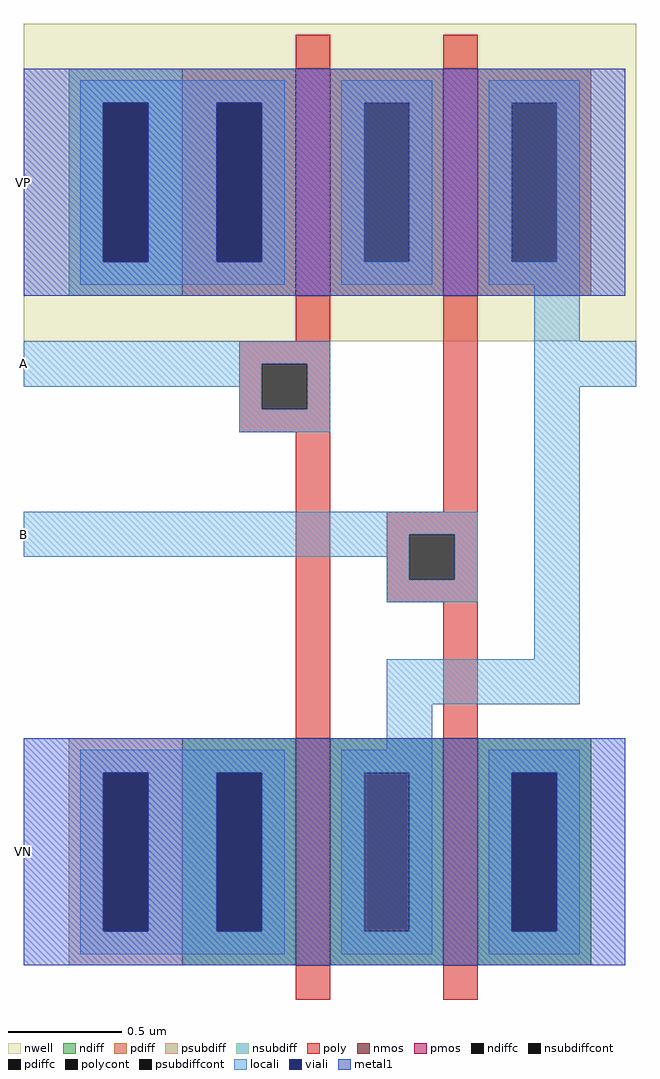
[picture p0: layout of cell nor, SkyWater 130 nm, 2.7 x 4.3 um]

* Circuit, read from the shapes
.subckt nor A B VN VP
XM1 n1 A VN VN sky130_fd_pr__nfet_01v8 w=1 l=0.15
XM2 VN B n1 VN sky130_fd_pr__nfet_01v8 w=1 l=0.15
XM3 n2 A VP VP sky130_fd_pr__pfet_01v8 w=1 l=0.15
XM4 n1 B n2 VP sky130_fd_pr__pfet_01v8 w=1 l=0.15
.ends

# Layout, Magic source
magic
tech sky130A
<< nwell >>
rect -120 -25 150 115
<< nmos >>
rect 0 -300 15 -200
rect 65 -300 80 -200
<< pmos >>
rect 0 -5 15 95
rect 65 -5 80 95
<< ndiff >>
rect -50 -215 0 -200
rect -50 -285 -35 -215
rect -15 -285 0 -215
rect -50 -300 0 -285
rect 15 -215 65 -200
rect 15 -285 30 -215
rect 50 -285 65 -215
rect 15 -300 65 -285
rect 80 -215 130 -200
rect 80 -285 95 -215
rect 115 -285 130 -215
rect 80 -300 130 -285
<< pdiff >>
rect -50 80 0 95
rect -50 10 -35 80
rect -15 10 0 80
rect -50 -5 0 10
rect 15 80 65 95
rect 15 10 30 80
rect 50 10 65 80
rect 15 -5 65 10
rect 80 80 130 95
rect 80 10 95 80
rect 115 10 130 80
rect 80 -5 130 10
<< ndiffc >>
rect -35 -285 -15 -215
rect 30 -285 50 -215
rect 95 -285 115 -215
<< pdiffc >>
rect -35 10 -15 80
rect 30 10 50 80
rect 95 10 115 80
<< psubdiff >>
rect -100 -215 -50 -200
rect -100 -285 -85 -215
rect -65 -285 -50 -215
rect -100 -300 -50 -285
<< nsubdiff >>
rect -100 80 -50 95
rect -100 10 -85 80
rect -65 10 -50 80
rect -100 -5 -50 10
<< psubdiffcont >>
rect -85 -285 -65 -215
<< nsubdiffcont >>
rect -85 10 -65 80
<< poly >>
rect 0 95 15 110
rect 65 95 80 110
rect 0 -25 15 -5
rect -25 -35 15 -25
rect -25 -55 -15 -35
rect 5 -55 15 -35
rect -25 -65 15 -55
rect 0 -200 15 -65
rect 65 -100 80 -5
rect 40 -110 80 -100
rect 40 -130 50 -110
rect 70 -130 80 -110
rect 40 -140 80 -130
rect 65 -200 80 -140
rect 0 -315 15 -300
rect 65 -315 80 -300
<< polycont >>
rect -15 -55 5 -35
rect 50 -130 70 -110
<< locali >>
rect -95 80 -5 90
rect -95 10 -85 80
rect -65 10 -35 80
rect -15 10 -5 80
rect -95 0 -5 10
rect 20 80 60 90
rect 20 10 30 80
rect 50 10 60 80
rect 20 0 60 10
rect 85 80 125 90
rect 85 10 95 80
rect 115 10 125 80
rect 85 0 125 10
rect 105 -25 125 0
rect -120 -35 15 -25
rect -120 -45 -15 -35
rect -25 -55 -15 -45
rect 5 -55 15 -35
rect -25 -65 15 -55
rect 105 -45 150 -25
rect -120 -110 80 -100
rect -120 -120 50 -110
rect 40 -130 50 -120
rect 70 -130 80 -110
rect 40 -140 80 -130
rect 105 -165 125 -45
rect 40 -185 125 -165
rect 40 -205 60 -185
rect -95 -215 -5 -205
rect -95 -285 -85 -215
rect -65 -285 -35 -215
rect -15 -285 -5 -215
rect -95 -295 -5 -285
rect 20 -215 60 -205
rect 20 -285 30 -215
rect 50 -285 60 -215
rect 20 -295 60 -285
rect 85 -215 125 -205
rect 85 -285 95 -215
rect 115 -285 125 -215
rect 85 -295 125 -285
<< viali >>
rect -85 10 -65 80
rect -35 10 -15 80
rect -85 -285 -65 -215
rect -35 -285 -15 -215
rect 95 -285 115 -215
<< metal1 >>
rect -120 80 145 95
rect -120 10 -85 80
rect -65 10 -35 80
rect -15 10 145 80
rect -120 -5 145 10
rect -120 -215 145 -200
rect -120 -285 -85 -215
rect -65 -285 -35 -215
rect -15 -285 95 -215
rect 115 -285 145 -215
rect -120 -300 145 -285
<< labels >>
rlabel locali -120 -35 -120 -35 7 A
rlabel locali -120 -110 -120 -110 7 B
rlabel metal1 -120 -250 -120 -250 7 VN
rlabel metal1 -120 45 -120 45 7 VP
<< end >>
